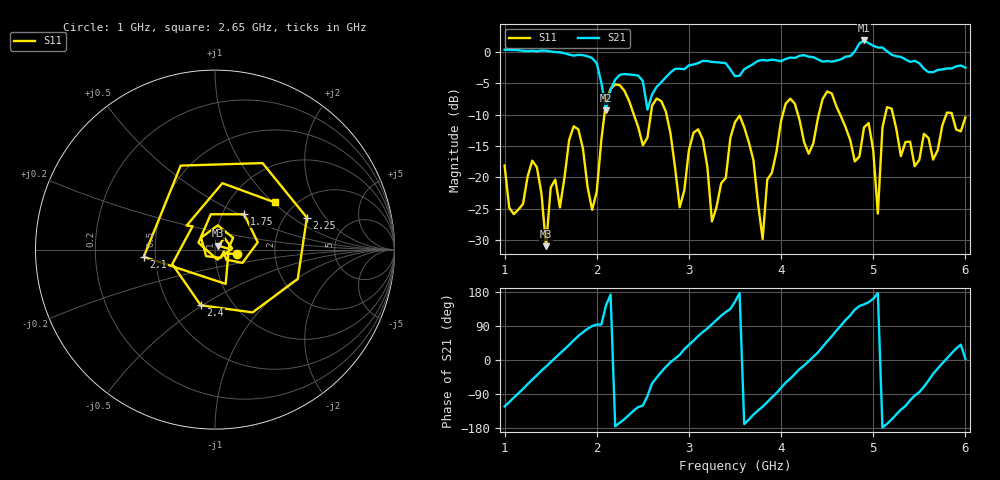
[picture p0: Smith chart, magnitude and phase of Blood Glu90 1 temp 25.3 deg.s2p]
! NanoVNA-App
! Date: 2024-03-20 22:28:21
! Start: 1GHz Stop: 6GHz Points: 101
! S-Parameter data: F S11 S21 S12 S22
# Hz S RI R 50
!	Frequency	S11_Real	S11_Imag	S21_Real	S21_Imag	S12_Real	S12_Imag	S22_Real	S22_Imag
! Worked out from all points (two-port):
!   101 points, 1 GHz to 6 GHz, reference 50 ohm
!   highest |S21| = 1.81 dB at 4.9 GHz (marker M1); lowest = -9.3 dB at 2.1 GHz (marker M2)
!   |S21| within 3 dB of the highest: start of sweep to 1.962 GHz; 4.651 GHz to 5.348 GHz (697.6 MHz wide, 14 % of centre)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
!   lowest |S11| = -30.9 dB at 1.45 GHz (marker M3), VSWR 1.06, Z = 51.8 + j2.27 ohm
!   |S11| at or under -10 dB: start of sweep to 2.083 GHz; 2.757 GHz to 4.018 GHz (1.261 GHz wide, 37.2 % of centre); 5.215 GHz to 5.792 GHz (577.2 MHz wide, 10.5 % of centre)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
!   S12 and S22 are empty: the file has one direction only
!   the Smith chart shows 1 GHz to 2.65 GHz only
!   S11 on the Smith chart (normalised r, x): 1 GHz: 1.28, -0.06; 1.75 GHz: 1.26, +0.53; 2.1 GHz: 0.43, -0.04; 2.25 GHz: 2.62, +1.32; 2.4 GHz: 0.71, -0.49; 2.65 GHz: 1.60, +1.02
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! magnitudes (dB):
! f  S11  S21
! 1 GHz  -18.1  0.3
! 1.35 GHz  -18.4  0.1
! 1.45 GHz  -30.9  0.2
! 1.75 GHz  -11.9  -0.6
! 1.85 GHz  -15.4  -0.5
! 1.95 GHz  -25.2  -1.0
! 2.1 GHz  -8.0  -9.3
! 2.25 GHz  -5.3  -3.7
! 2.4 GHz  -9.9  -3.7
! 2.65 GHz  -7.4  -5.6
! 2.7 GHz  -7.8  -4.8
! 2.9 GHz  -24.7  -2.7
! 3.1 GHz  -12.3  -1.8
! 3.25 GHz  -27.0  -1.6
! 3.5 GHz  -11.2  -3.9
! 3.8 GHz  -29.8  -1.3
! 4.05 GHz  -8.3  -1.1
! 4.35 GHz  -14.6  -0.9
! 4.9 GHz  -12.0  1.8
! 5.05 GHz  -25.8  0.7
! 5.2 GHz  -9.1  -0.5
! 6 GHz  -10.5  -2.5
